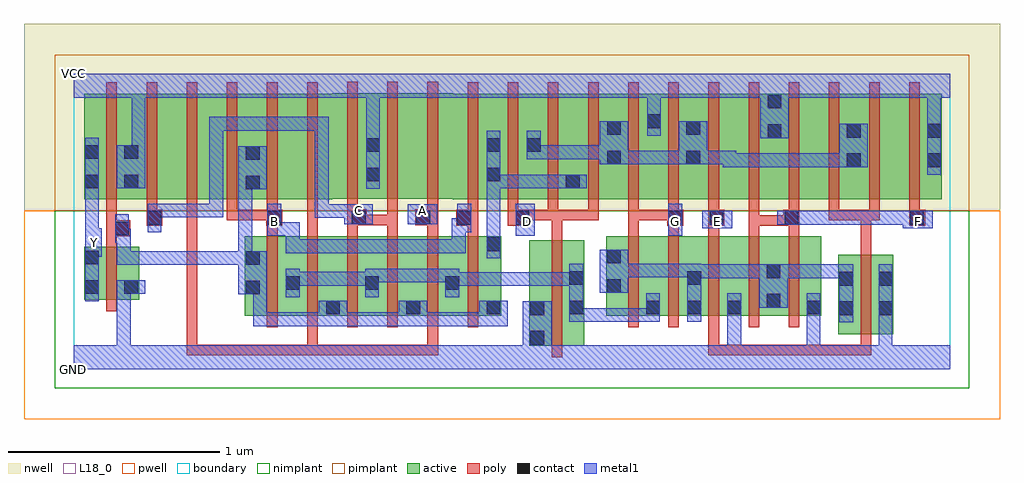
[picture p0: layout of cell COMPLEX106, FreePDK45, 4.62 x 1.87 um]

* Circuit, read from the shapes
.subckt COMPLEX106 A B C D E F G GND VCC Y
M1 GND n1 Y VSUBS nfet w=0.25u l=0.05u
M2 n2 B n1 VSUBS nfet w=0.375u l=0.05u m=2
M3 n1 A n2 VSUBS nfet w=0.375u l=0.05u m=2
M4 n2 C n1 VSUBS nfet w=0.375u l=0.05u m=2
M5 n2 D GND VSUBS nfet w=0.5u l=0.05u
M6 n2 G n3 VSUBS nfet w=0.375u l=0.05u m=2
M7 GND E n3 VSUBS nfet w=0.375u l=0.05u m=2
M8 n3 F GND VSUBS nfet w=0.375u l=0.05u m=2
M9 VCC n1 Y n4 pfet w=0.5u l=0.05u
M10 n5 C VCC n4 pfet w=0.5u l=0.05u
M11 n6 A n5 n4 pfet w=0.5u l=0.05u
M12 n1 B n6 n4 pfet w=0.5u l=0.05u
M13 n7 B n1 n4 pfet w=0.5u l=0.05u
M14 n8 A n7 n4 pfet w=0.5u l=0.05u
M15 VCC C n8 n4 pfet w=0.5u l=0.05u
M16 n9 C VCC n4 pfet w=0.5u l=0.05u
M17 n10 A n9 n4 pfet w=0.5u l=0.05u
M18 n1 B n10 n4 pfet w=0.5u l=0.05u
M19 n11 D n1 n4 pfet w=0.5u l=0.05u m=3
M20 VCC G n11 n4 pfet w=0.5u l=0.05u m=2
M21 n12 E n11 n4 pfet w=0.5u l=0.05u
M22 VCC F n12 n4 pfet w=0.5u l=0.05u
M23 n13 F VCC n4 pfet w=0.5u l=0.05u
M24 n11 E n13 n4 pfet w=0.5u l=0.05u
M25 n14 E n11 n4 pfet w=0.5u l=0.05u
M26 VCC F n14 n4 pfet w=0.5u l=0.05u
.ends

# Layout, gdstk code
import gdstk
lib = gdstk.Library(unit=1e-6, precision=1e-09)
def R(c, l, rs):  # rectangles x0, y0, x1, y1
    for r in rs: c.add(gdstk.rectangle(r[:2], r[2:], *l))
def A(c, l, x, y, w, h, nx, ny, dx, dy):  # array of equal rectangles
    R(c, l, [(x+i*dx, y+j*dy, x+i*dx+w, y+j*dy+h) for i in range(nx) for j in range(ny)])
active = (1, 0)
pwell = (2, 0)
nwell = (3, 0)
nimplant = (4, 0)
pimplant = (5, 0)
poly = (9, 0)
contact = (10, 0)
metal1 = (11, 0)
L18_0 = (18, 0)
boundary = (235, 0)

complex106 = lib.new_cell('COMPLEX106')
R(complex106, active, [(2.157,0.112,2.417,0.612), (2.157,0.112,2.232,0.592), (3.62,0.167,3.88,0.542), (3.805,0.167,3.88,0.542), (2.342,0.195,2.417,0.612), (3.62,0.2,3.695,0.542), (0.81,0.255,1.075,0.63), (1,0.255,1.265,0.63), (1.19,0.255,1.45,0.63), (1.19,0.255,1.265,0.512), (1.375,0.255,1.645,0.63), (1.57,0.255,1.83,0.63), (1.57,0.255,1.645,0.512), (1.755,0.255,2.025,0.63), (1.95,0.255,2.025,0.63), (2.52,0.255,2.78,0.63), (2.705,0.255,2.975,0.63), (2.705,0.255,2.78,0.467), (2.9,0.255,2.975,0.63), (2.9,0.255,3.165,0.63), (3.09,0.255,3.35,0.63), (3.09,0.255,3.165,0.512), (3.275,0.255,3.54,0.63), (3.275,0.255,3.35,0.592), (3.465,0.255,3.54,0.63), (0.81,0.257,0.885,0.63), (1,0.32,1.075,0.512), (1.375,0.32,1.45,0.592), (1.755,0.32,1.83,0.512), (2.52,0.32,2.595,0.63), (0.05,0.33,0.125,0.58), (0.05,0.33,0.31,0.58), (0.235,0.33,0.31,0.58), (0.05,0.805,0.31,1.305), (0.05,0.805,0.125,1.2), (0.235,0.805,0.31,1.305), (0.235,0.805,0.465,1.305), (0.465,0.805,0.655,1.305), (0.655,0.805,0.885,1.305), (0.81,0.805,1.035,1.305), (0.81,0.805,0.885,1.07), (1.035,0.805,1.225,1.305), (1.795,0.805,2.025,1.305), (1.95,0.805,2.025,1.2), (1.95,0.805,2.215,1.305), (2.14,0.805,2.4,1.305), (2.14,0.805,2.215,1.2), (2.325,0.805,2.595,1.305), (2.325,0.805,2.4,1.07), (2.52,0.805,2.595,1.2), (2.52,0.805,2.785,1.305), (2.71,0.805,2.97,1.305), (2.71,0.805,2.785,1.305), (2.895,0.805,3.125,1.305), (2.895,0.805,2.97,1.2), (3.125,0.805,3.355,1.305), (3.28,0.805,3.505,1.305), (3.505,0.805,3.73,1.305), (3.655,0.805,3.885,1.305), (3.655,0.805,3.73,1.2), (3.885,0.805,4.11,1.305), (4.035,0.805,4.11,1.305), (1.225,0.807,1.455,1.307), (1.38,0.807,1.455,1.307), (1.38,0.807,1.605,1.307), (1.605,0.807,1.795,1.307), (3.28,0.807,3.355,1.305)])
R(complex106, pwell, [(-0.235,-0.235,4.385,0.75)])
R(complex106, nwell, [(-0.235,0.75,4.385,1.635)])
R(complex106, nimplant, [(-0.09,-0.09,4.24,0.75)])
R(complex106, pimplant, [(-0.09,0.75,4.24,1.49)])
A(complex106, poly, 0.915, 0.2, 0.05, 0.485, 6, 1, 0.19, 0)
A(complex106, poly, 2.625, 0.2, 0.05, 0.485, 5, 1, 0.19, 0)
A(complex106, poly, 0.915, 0.635, 0.05, 0.095, 3, 1, 0.95, 0)
A(complex106, poly, 1.295, 0.635, 0.05, 0.097, 3, 1, 0.19, 0)
A(complex106, poly, 3.005, 0.635, 0.05, 0.095, 3, 1, 0.19, 0)
A(complex106, poly, 0.725, 0.705, 0.05, 0.095, 3, 1, 0.19, 0)
A(complex106, poly, 1.865, 0.705, 0.05, 0.095, 7, 1, 0.19, 0)
A(complex106, poly, 3.385, 0.705, 0.05, 0.095, 4, 1, 0.19, 0)
A(complex106, poly, 0.155, 0.75, 0.05, 0.61, 6, 1, 0.19, 0)
A(complex106, poly, 1.865, 0.75, 0.05, 0.61, 12, 1, 0.19, 0)
A(complex106, poly, 1.295, 0.752, 0.05, 0.61, 3, 1, 0.19, 0)
R(complex106, poly, [(2.262,0.057,2.312,0.667), (0.535,0.067,0.585,0.117), (0.535,0.067,0.585,0.117), (0.535,0.067,0.585,0.117), (0.535,0.067,0.585,0.117), (0.535,0.067,0.585,0.117), (0.535,0.067,0.585,0.117), (0.535,0.067,0.585,0.117), (0.535,0.067,0.585,0.117), (0.535,0.067,0.585,0.117), (0.535,0.067,0.717,0.117), (0.535,0.067,0.585,0.8), (0.667,0.067,0.717,0.117), (0.667,0.067,0.717,0.117), (0.667,0.067,0.717,0.117), (0.667,0.067,0.717,0.117), (0.667,0.067,0.717,0.117), (0.667,0.067,0.907,0.117), (0.857,0.067,0.907,0.117), (0.857,0.067,0.907,0.117), (0.857,0.067,0.907,0.117), (0.857,0.067,1.155,0.117), (1.105,0.067,1.155,0.117), (1.105,0.067,1.155,0.117), (1.105,0.067,1.155,0.117), (1.105,0.067,1.287,0.117), (1.105,0.067,1.155,0.25), (1.237,0.067,1.287,0.117), (1.237,0.067,1.535,0.117), (1.485,0.067,1.535,0.117), (1.485,0.067,1.535,0.117), (1.485,0.067,1.535,0.117), (1.485,0.067,1.725,0.117), (1.675,0.067,1.725,0.117), (1.675,0.067,1.725,0.117), (1.675,0.067,1.725,0.117), (1.675,0.067,1.725,0.25), (3.005,0.067,3.055,0.117), (3.005,0.067,3.055,0.117), (3.005,0.067,3.055,0.117), (3.005,0.067,3.187,0.117), (3.005,0.067,3.055,0.25), (3.137,0.067,3.187,0.117), (3.137,0.067,3.377,0.117), (3.327,0.067,3.377,0.117), (3.327,0.067,3.377,0.117), (3.327,0.067,3.377,0.117), (3.327,0.067,3.642,0.117), (3.592,0.067,3.642,0.117), (3.592,0.067,3.642,0.117), (3.592,0.067,3.642,0.117), (3.592,0.067,3.775,0.117), (3.725,0.067,3.775,0.162), (3.725,0.067,3.775,0.117), (3.725,0.067,3.775,0.117), (3.725,0.067,3.775,0.117), (3.725,0.112,3.775,0.597), (0.155,0.275,0.205,0.635), (3.725,0.547,3.775,0.755), (0.155,0.585,0.205,0.68), (2.262,0.617,2.312,0.755), (0.155,0.63,0.267,0.705), (1.105,0.635,1.155,0.755), (2.625,0.635,2.675,0.755), (0.155,0.655,0.205,0.8), (0.345,0.68,0.42,0.755), (0.912,0.68,0.987,0.755), (1.812,0.68,1.915,0.755), (2.055,0.68,2.162,0.755), (2.81,0.68,2.885,0.755), (3.005,0.68,3.08,0.755), (3.195,0.68,3.245,0.73), (3.195,0.68,3.41,0.73), (3.195,0.68,3.245,0.8), (3.36,0.68,3.435,0.755), (3.36,0.68,3.41,0.73), (3.36,0.68,3.41,0.73), (3.955,0.68,4.03,0.755), (1.295,0.682,1.387,0.757), (1.337,0.682,1.387,0.732), (1.337,0.682,1.387,0.732), (1.337,0.682,1.535,0.732), (1.485,0.682,1.535,0.732), (1.485,0.682,1.535,0.802), (1.617,0.682,1.725,0.757), (0.345,0.705,0.395,0.8), (0.725,0.705,0.775,0.755), (0.725,0.705,0.775,0.755), (0.725,0.705,0.775,0.755), (0.725,0.705,0.962,0.755), (1.105,0.705,1.155,0.755), (2.112,0.705,2.162,0.755), (2.112,0.705,2.162,0.755), (2.112,0.705,2.295,0.755), (2.245,0.705,2.312,0.755), (2.262,0.705,2.485,0.755), (2.435,0.705,2.485,0.755), (2.435,0.705,2.485,0.755), (2.435,0.705,2.485,0.755), (2.625,0.705,2.675,0.755), (2.625,0.705,2.86,0.755), (2.81,0.705,2.86,0.755), (2.81,0.705,2.86,0.755), (3.575,0.705,3.625,0.755), (3.575,0.705,3.775,0.755), (3.725,0.705,3.775,0.755), (3.725,0.705,3.775,0.755), (3.725,0.705,3.815,0.755), (1.295,0.707,1.345,0.802), (1.675,0.707,1.725,0.802)])
A(complex106, contact, 1.195, 0.26, 0.065, 0.065, 3, 1, 0.38, 0)
R(complex106, contact, [(2.162,0.117,2.227,0.182), (2.162,0.257,2.227,0.322), (3.625,0.257,3.69,0.322), (3.81,0.257,3.875,0.322), (2.347,0.26,2.412,0.325), (2.71,0.26,2.775,0.325), (2.905,0.26,2.97,0.325), (3.095,0.26,3.16,0.325), (3.47,0.26,3.535,0.325), (3.28,0.292,3.345,0.357), (0.815,0.355,0.88,0.42), (0.055,0.357,0.12,0.422), (0.24,0.357,0.305,0.422), (2.525,0.362,2.59,0.427), (1.005,0.377,1.07,0.442), (1.38,0.377,1.445,0.442), (1.76,0.377,1.825,0.442), (3.625,0.397,3.69,0.462), (3.81,0.397,3.875,0.462), (2.347,0.4,2.412,0.465), (2.905,0.4,2.97,0.465), (3.28,0.432,3.345,0.497), (0.815,0.495,0.88,0.56), (0.055,0.497,0.12,0.562), (2.525,0.502,2.59,0.567), (1.955,0.56,2.02,0.625), (0.197,0.635,0.262,0.7), (0.35,0.685,0.415,0.75), (0.917,0.685,0.982,0.75), (1.817,0.685,1.882,0.75), (2.092,0.685,2.157,0.75), (2.815,0.685,2.88,0.75), (3.01,0.685,3.075,0.75), (3.365,0.685,3.43,0.75), (3.96,0.685,4.025,0.75), (1.317,0.687,1.382,0.752), (1.622,0.687,1.687,0.752), (0.815,0.852,0.88,0.917), (0.055,0.857,0.12,0.922), (0.24,0.857,0.305,0.922), (2.33,0.857,2.395,0.922), (1.385,0.89,1.45,0.955), (1.955,0.89,2.02,0.955), (3.66,0.957,3.725,1.022), (4.04,0.957,4.105,1.022), (2.525,0.97,2.59,1.035), (2.9,0.97,2.965,1.035), (0.815,0.992,0.88,1.057), (0.055,0.997,0.12,1.062), (0.24,0.997,0.305,1.062), (1.385,1.03,1.45,1.095), (1.955,1.03,2.02,1.095), (2.145,1.03,2.21,1.095), (3.285,1.095,3.35,1.16), (3.66,1.097,3.725,1.162), (4.04,1.097,4.105,1.162), (2.525,1.11,2.59,1.175), (2.9,1.11,2.965,1.175), (2.715,1.142,2.78,1.207), (3.285,1.235,3.35,1.3)])
A(complex106, metal1, 1.16, 0.205, 0.135, 0.12, 3, 1, 0.38, 0)
A(complex106, metal1, 2.627, 0.435, 0.065, 0.065, 3, 2, 0.07, 0.535)
R(complex106, metal1, [(0,0,4.15,0.115), (0.205,0.05,0.27,0.115), (0.205,0.05,0.27,0.115), (0.205,0.05,0.27,0.115), (0.205,0.05,0.27,0.115), (0.205,0.05,0.27,0.115), (0.205,0.05,0.27,0.115), (0.205,0.05,0.27,0.422), (2.127,0.05,2.192,0.115), (2.127,0.05,2.192,0.115), (2.127,0.05,2.192,0.182), (3.095,0.05,3.16,0.115), (3.095,0.05,3.16,0.115), (3.095,0.05,3.16,0.115), (3.095,0.05,3.16,0.115), (3.095,0.05,3.16,0.29), (3.47,0.05,3.535,0.115), (3.47,0.05,3.535,0.115), (3.47,0.05,3.535,0.29), (3.81,0.05,3.875,0.115), (3.81,0.05,3.875,0.115), (3.81,0.05,3.875,0.115), (3.81,0.05,3.875,0.115), (3.81,0.05,3.875,0.287), (2.127,0.117,2.262,0.322), (0.85,0.205,0.915,0.27), (0.85,0.205,0.915,0.27), (0.85,0.205,0.915,0.27), (0.85,0.205,0.982,0.27), (0.85,0.205,0.915,0.42), (0.917,0.205,0.982,0.27), (0.917,0.205,1.07,0.27), (1.005,0.205,1.07,0.27), (1.005,0.205,1.12,0.27), (1.055,0.205,1.12,0.27), (1.055,0.205,1.225,0.27), (1.23,0.205,1.295,0.27), (1.23,0.205,1.295,0.27), (1.23,0.205,1.467,0.27), (1.402,0.205,1.467,0.27), (1.402,0.205,1.467,0.27), (1.402,0.205,1.467,0.27), (1.402,0.205,1.605,0.27), (1.61,0.205,1.675,0.27), (1.61,0.205,1.675,0.27), (1.61,0.205,1.847,0.27), (1.782,0.205,1.847,0.27), (1.782,0.205,1.985,0.27), (1.92,0.205,1.985,0.27), (1.92,0.205,1.985,0.27), (3.625,0.222,3.69,0.497), (3.81,0.222,3.875,0.497), (2.347,0.225,2.412,0.5), (2.347,0.225,2.412,0.29), (2.347,0.225,2.412,0.29), (2.347,0.225,2.55,0.29), (2.485,0.225,2.55,0.29), (2.485,0.225,2.55,0.29), (2.485,0.225,2.55,0.29), (2.485,0.225,2.695,0.29), (2.63,0.225,2.695,0.29), (2.63,0.225,2.775,0.29), (2.71,0.225,2.775,0.36), (2.905,0.225,2.97,0.5), (3.095,0.225,3.16,0.36), (3.47,0.225,3.535,0.29), (3.47,0.225,3.535,0.29), (3.47,0.225,3.535,0.36), (3.245,0.292,3.38,0.497), (0.055,0.322,0.12,0.597), (1.005,0.342,1.07,0.477), (1.38,0.342,1.445,0.477), (1.76,0.342,1.825,0.477), (0.78,0.355,0.915,0.56), (0.205,0.357,0.34,0.422), (2.49,0.362,2.625,0.567), (1.76,0.395,1.86,0.46), (1.795,0.395,1.86,0.46), (1.795,0.395,2.02,0.46), (1.955,0.395,2.02,0.46), (1.955,0.395,2.157,0.46), (2.092,0.395,2.157,0.46), (2.092,0.395,2.157,0.46), (2.092,0.395,2.157,0.46), (2.092,0.395,2.412,0.46), (2.347,0.395,2.412,0.46), (2.347,0.395,2.412,0.46), (1.005,0.397,1.12,0.462), (1.055,0.397,1.12,0.462), (1.055,0.397,1.257,0.462), (1.192,0.397,1.257,0.462), (1.192,0.397,1.257,0.462), (1.192,0.397,1.257,0.462), (1.192,0.397,1.445,0.462), (1.38,0.412,1.445,0.477), (1.38,0.412,1.445,0.477), (1.38,0.412,1.687,0.477), (1.622,0.412,1.687,0.477), (1.622,0.412,1.687,0.477), (1.622,0.412,1.687,0.477), (1.622,0.412,1.825,0.477), (2.905,0.432,2.97,0.497), (2.905,0.432,2.97,0.497), (2.905,0.432,3.137,0.497), (3.072,0.432,3.137,0.497), (3.072,0.432,3.137,0.497), (3.072,0.432,3.137,0.497), (3.072,0.432,3.31,0.497), (3.315,0.432,3.38,0.497), (3.315,0.432,3.38,0.497), (3.315,0.432,3.552,0.497), (3.487,0.432,3.552,0.497), (3.487,0.432,3.69,0.497), (3.625,0.432,3.69,0.497), (3.625,0.432,3.69,0.497), (2.56,0.435,2.692,0.5), (2.627,0.435,2.762,0.5), (2.697,0.435,2.832,0.5), (2.767,0.435,2.97,0.5), (0.205,0.495,0.27,0.56), (0.205,0.495,0.407,0.56), (0.205,0.495,0.27,0.665), (0.342,0.495,0.407,0.56), (0.342,0.495,0.407,0.56), (0.342,0.495,0.407,0.56), (0.342,0.495,0.707,0.56), (0.642,0.495,0.707,0.56), (0.642,0.495,0.707,0.56), (0.642,0.495,0.707,0.56), (0.642,0.495,0.845,0.56), (0.78,0.495,0.845,0.56), (0.78,0.495,0.845,0.56), (0.78,0.495,0.845,0.56), (0.78,0.495,0.845,0.56), (0.78,0.495,0.845,0.917), (1.955,0.525,2.02,0.66), (0.055,0.532,0.12,0.597), (0.055,0.532,0.132,0.667), (1.005,0.55,1.07,0.615), (1.005,0.55,1.12,0.615), (1.005,0.55,1.07,0.697), (1.055,0.55,1.12,0.615), (1.055,0.55,1.307,0.615), (1.242,0.55,1.307,0.615), (1.242,0.55,1.307,0.615), (1.242,0.55,1.307,0.615), (1.242,0.55,1.467,0.615), (1.402,0.55,1.467,0.615), (1.402,0.55,1.467,0.615), (1.402,0.55,1.467,0.615), (1.402,0.55,1.605,0.615), (1.54,0.55,1.605,0.615), (1.54,0.55,1.605,0.615), (1.54,0.55,1.605,0.615), (1.54,0.55,1.855,0.615), (1.79,0.55,1.855,0.615), (1.79,0.55,1.855,0.715), (1.955,0.595,2.02,0.92), (0.197,0.6,0.262,0.735), (0.197,0.6,0.27,0.665), (0.205,0.6,0.27,0.665), (0.055,0.602,0.12,0.887), (0.917,0.632,1.07,0.697), (0.917,0.632,0.982,0.785), (1.005,0.632,1.07,0.697), (2.092,0.632,2.182,0.785), (2.815,0.632,2.882,0.785), (0.35,0.65,0.415,0.785), (1.79,0.65,1.855,0.715), (1.79,0.65,1.882,0.715), (1.817,0.65,1.882,0.785), (2.975,0.667,3.117,0.75), (3.925,0.667,4.067,0.75), (3.33,0.685,3.465,0.75), (3.4,0.685,3.552,0.75), (3.487,0.685,3.552,0.75), (3.487,0.685,3.69,0.75), (3.625,0.685,3.69,0.75), (3.625,0.685,3.69,0.75), (3.625,0.685,3.69,0.75), (3.625,0.685,3.827,0.75), (3.762,0.685,3.99,0.75), (3.762,0.685,3.827,0.75), (3.762,0.685,3.827,0.75), (3.762,0.685,3.827,0.75), (1.282,0.687,1.417,0.782), (1.582,0.687,1.722,0.782), (1.142,0.717,1.207,0.782), (1.142,0.717,1.347,0.782), (1.142,0.717,1.207,1.195), (0.35,0.72,0.57,0.785), (0.505,0.72,0.57,0.785), (0.505,0.72,0.57,0.785), (0.505,0.72,0.57,0.785), (0.505,0.72,0.707,0.785), (0.642,0.72,0.707,0.785), (0.642,0.72,0.707,0.785), (0.642,0.72,0.707,0.785), (0.642,0.72,0.707,1.195), (0.055,0.822,0.12,1.097), (0.78,0.852,0.915,1.057), (1.385,0.855,1.45,1.13), (1.955,0.855,2.02,1.13), (1.955,0.855,2.02,0.92), (1.955,0.855,2.02,0.92), (0.205,0.857,0.34,1.062), (1.955,0.857,2.157,0.922), (2.092,0.857,2.157,0.922), (2.092,0.857,2.157,0.922), (2.092,0.857,2.157,0.922), (2.092,0.857,2.36,0.922), (2.295,0.857,2.36,0.922), (2.295,0.857,2.36,0.922), (2.295,0.857,2.43,0.922), (4.04,0.922,4.105,1.197), (3.072,0.957,3.137,1.022), (3.072,0.957,3.137,1.022), (3.072,0.957,3.275,1.022), (3.072,0.957,3.137,1.035), (3.21,0.957,3.275,1.022), (3.21,0.957,3.275,1.022), (3.21,0.957,3.275,1.022), (3.21,0.957,3.517,1.022), (3.452,0.957,3.517,1.022), (3.452,0.957,3.69,1.022), (3.625,0.957,3.69,1.022), (3.625,0.957,3.69,1.022), (3.625,0.957,3.76,1.162), (2.49,0.97,2.625,1.175), (2.56,0.97,2.692,1.035), (2.627,0.97,2.762,1.035), (2.697,0.97,2.832,1.035), (2.767,0.97,2.93,1.035), (2.865,0.97,3,1.175), (2.935,0.97,3,1.035), (2.935,0.97,3,1.035), (2.935,0.97,3.137,1.035), (2.145,0.995,2.347,1.06), (2.145,0.995,2.21,1.13), (2.282,0.995,2.347,1.06), (2.282,0.995,2.347,1.06), (2.282,0.995,2.347,1.06), (2.282,0.995,2.555,1.06), (2.49,0.995,2.555,1.06), (2.49,0.995,2.555,1.06), (0.275,0.997,0.34,1.35), (1.385,1.065,1.45,1.35), (3.25,1.095,3.385,1.3), (2.715,1.107,2.78,1.242), (0.642,1.13,0.707,1.195), (0.642,1.13,0.845,1.195), (0.78,1.13,0.845,1.195), (0.78,1.13,0.845,1.195), (0.78,1.13,0.845,1.195), (0.78,1.13,0.982,1.195), (0.917,1.13,0.982,1.195), (0.917,1.13,1.07,1.195), (1.005,1.13,1.07,1.195), (1.005,1.13,1.12,1.195), (1.055,1.13,1.12,1.195), (1.055,1.13,1.207,1.195), (1.142,1.13,1.207,1.195), (1.142,1.13,1.207,1.195), (1.142,1.13,1.207,1.195), (4.04,1.132,4.105,1.35), (2.715,1.177,2.78,1.35), (3.32,1.235,3.385,1.35), (0,1.285,4.15,1.4)])
R(complex106, L18_0, [(0,0,4.15,0.115), (0.205,0.05,0.27,0.115), (0.205,0.05,0.27,0.115), (0.205,0.05,0.27,0.115), (0.205,0.05,0.27,0.115), (0.205,0.05,0.27,0.115), (0.205,0.05,0.27,0.115), (0.205,0.05,0.27,0.422), (2.127,0.05,2.192,0.115), (2.127,0.05,2.192,0.115), (2.127,0.05,2.192,0.182), (3.095,0.05,3.16,0.115), (3.095,0.05,3.16,0.115), (3.095,0.05,3.16,0.115), (3.095,0.05,3.16,0.115), (3.095,0.05,3.16,0.29), (3.47,0.05,3.535,0.115), (3.47,0.05,3.535,0.115), (3.47,0.05,3.535,0.29), (3.81,0.05,3.875,0.115), (3.81,0.05,3.875,0.115), (3.81,0.05,3.875,0.115), (3.81,0.05,3.875,0.115), (3.81,0.05,3.875,0.287), (2.127,0.117,2.262,0.322), (3.81,0.222,3.875,0.497), (3.095,0.225,3.16,0.36), (3.47,0.225,3.535,0.29), (3.47,0.225,3.535,0.29), (3.47,0.225,3.535,0.36), (0.055,0.322,0.12,0.597), (0.205,0.357,0.34,0.422), (0.055,0.532,0.132,0.667), (0.055,0.532,0.12,0.597), (1.005,0.55,1.07,0.615), (1.005,0.55,1.07,0.697), (1.005,0.55,1.12,0.615), (1.055,0.55,1.12,0.615), (1.055,0.55,1.307,0.615), (1.242,0.55,1.307,0.615), (1.242,0.55,1.307,0.615), (1.242,0.55,1.307,0.615), (1.242,0.55,1.467,0.615), (1.402,0.55,1.467,0.615), (1.402,0.55,1.467,0.615), (1.402,0.55,1.467,0.615), (1.402,0.55,1.605,0.615), (1.54,0.55,1.605,0.615), (1.54,0.55,1.605,0.615), (1.54,0.55,1.605,0.615), (1.54,0.55,1.855,0.615), (1.79,0.55,1.855,0.615), (1.79,0.55,1.855,0.715), (0.067,0.567,0.132,0.632), (0.055,0.602,0.12,0.887), (0.917,0.632,0.982,0.785), (0.917,0.632,1.07,0.697), (1.005,0.632,1.07,0.697), (2.092,0.632,2.182,0.785), (2.815,0.632,2.882,0.785), (0.35,0.65,0.415,0.785), (1.79,0.65,1.855,0.715), (1.79,0.65,1.882,0.715), (1.817,0.65,1.882,0.785), (0.917,0.667,0.982,0.732), (2.117,0.667,2.182,0.732), (2.817,0.667,2.882,0.732), (2.975,0.667,3.117,0.75), (3.017,0.667,3.082,0.732), (3.925,0.667,4.067,0.75), (3.967,0.667,4.032,0.732), (3.33,0.685,3.465,0.75), (3.4,0.685,3.552,0.75), (3.487,0.685,3.552,0.75), (3.487,0.685,3.69,0.75), (3.625,0.685,3.69,0.75), (3.625,0.685,3.69,0.75), (3.625,0.685,3.69,0.75), (3.625,0.685,3.827,0.75), (3.762,0.685,3.827,0.75), (3.762,0.685,3.827,0.75), (3.762,0.685,3.827,0.75), (3.762,0.685,3.99,0.75), (1.282,0.687,1.417,0.782), (1.582,0.687,1.722,0.782), (1.142,0.717,1.207,0.782), (1.142,0.717,1.207,1.195), (1.142,0.717,1.347,0.782), (1.317,0.717,1.382,0.782), (1.617,0.717,1.682,0.782), (0.35,0.72,0.57,0.785), (0.505,0.72,0.57,0.785), (0.505,0.72,0.57,0.785), (0.505,0.72,0.57,0.785), (0.505,0.72,0.707,0.785), (0.642,0.72,0.707,0.785), (0.642,0.72,0.707,0.785), (0.642,0.72,0.707,0.785), (0.642,0.72,0.707,1.195), (0.055,0.822,0.12,1.097), (1.385,0.855,1.45,1.13), (0.205,0.857,0.34,1.062), (4.04,0.922,4.105,1.197), (0.275,0.997,0.34,1.35), (1.385,1.065,1.45,1.35), (3.25,1.095,3.385,1.3), (2.715,1.107,2.78,1.242), (0.642,1.13,0.707,1.195), (0.642,1.13,0.845,1.195), (0.78,1.13,0.845,1.195), (0.78,1.13,0.845,1.195), (0.78,1.13,0.845,1.195), (0.78,1.13,0.982,1.195), (0.917,1.13,0.982,1.195), (0.917,1.13,1.07,1.195), (1.005,1.13,1.07,1.195), (1.005,1.13,1.12,1.195), (1.055,1.13,1.12,1.195), (1.055,1.13,1.207,1.195), (1.142,1.13,1.207,1.195), (1.142,1.13,1.207,1.195), (1.142,1.13,1.207,1.195), (4.04,1.132,4.105,1.35), (2.715,1.177,2.78,1.35), (3.32,1.235,3.385,1.35), (0,1.285,4.15,1.4)])
R(complex106, boundary, [(0,0,4.15,1.4)])
complex106.add(gdstk.Label('A', (1.65,0.75), layer=11, texttype=0))
complex106.add(gdstk.Label('B', (0.95,0.7), layer=11, texttype=0))
complex106.add(gdstk.Label('C', (1.35,0.75), layer=11, texttype=0))
complex106.add(gdstk.Label('D', (2.15,0.7), layer=11, texttype=0))
complex106.add(gdstk.Label('E', (3.05,0.7), layer=11, texttype=0))
complex106.add(gdstk.Label('F', (4,0.7), layer=11, texttype=0))
complex106.add(gdstk.Label('G', (2.85,0.7), layer=11, texttype=0))
complex106.add(gdstk.Label('Y', (0.1,0.6), layer=11, texttype=0))
complex106.add(gdstk.Label('VCC', (0,1.4), layer=11, texttype=0))
complex106.add(gdstk.Label('GND', (0,0), layer=11, texttype=0))

lib.write_gds('COMPLEX106.gds')
